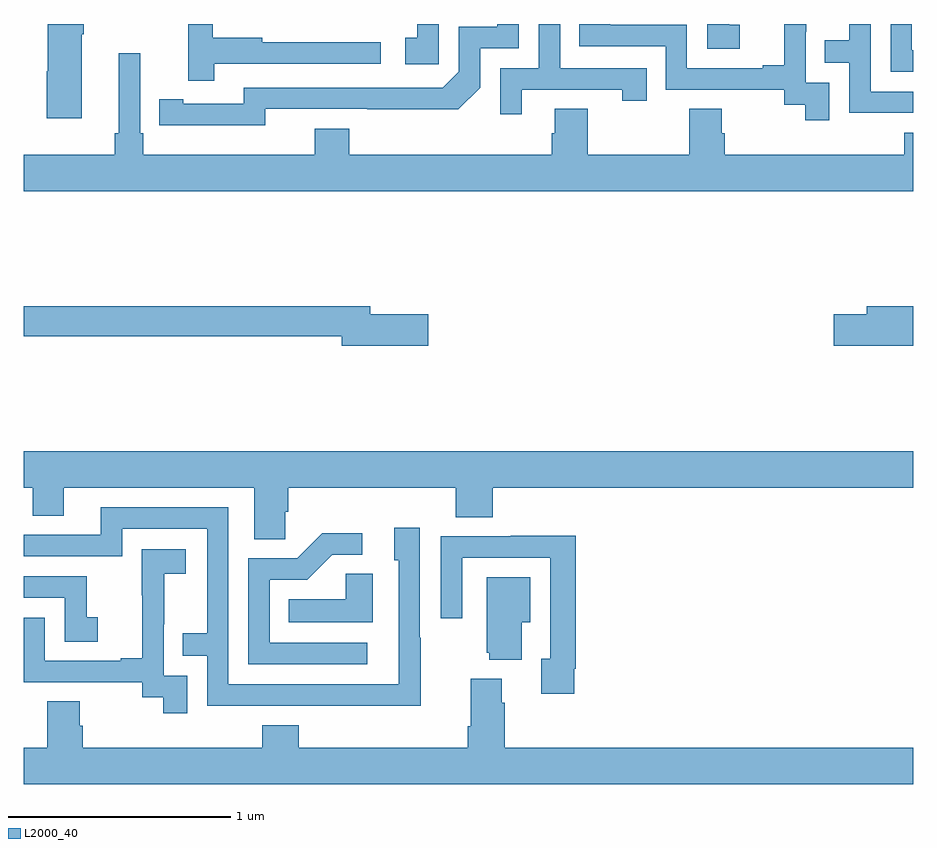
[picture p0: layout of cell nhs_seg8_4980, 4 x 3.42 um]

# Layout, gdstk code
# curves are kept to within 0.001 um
import gdstk
lib = gdstk.Library(unit=1e-6, precision=1e-09)
def P(c, l, *ps):  # polygons
    for p in ps: c.add(gdstk.Polygon(p, *l))
L2000_40 = (2000, 40)

nhs_seg8_4980 = lib.new_cell('nhs_seg8_4980')
P(nhs_seg8_4980, L2000_40, [(415,1135.596),(414.807,1135.596),(414.807,1135.9),(414.711,1135.9),(414.711,1135.826),(414.601,1135.826),(414.601,1135.725),(414.711,1135.725),(414.711,1135.5),(415,1135.5)],
  [(412.866,1135.9),(412.769,1135.9),(412.769,1135.839),(412.716,1135.839),(412.716,1135.719),(412.866,1135.719)],
  [(412.086,1135.518),(412.954,1135.517),(413.052,1135.614),(413.052,1135.791),(413.226,1135.791),(413.226,1135.9),(413.129,1135.9),(413.129,1135.887),(412.956,1135.887),(412.956,1135.686),(412.884,1135.614),(411.99,1135.614),(411.99,1135.542),(411.718,1135.542),(411.718,1135.562),(411.61,1135.562),(411.61,1135.446),(412.086,1135.445)],
  [(411.857,1135.722),(412.606,1135.722),(412.606,1135.818),(412.073,1135.818),(412.073,1135.838),(411.85,1135.838),(411.85,1135.9),(411.74,1135.9),(411.74,1135.644),(411.857,1135.644)],
  [(411.262,1135.855),(411.27,1135.855),(411.27,1135.9),(411.109,1135.9),(411.109,1135.688),(411.104,1135.688),(411.104,1135.476),(411.262,1135.476)],
  [(414.621,1135.635),(414.516,1135.635),(414.516,1135.865),(414.518,1135.865),(414.518,1135.9),(414.419,1135.9),(414.419,1135.714),(414.323,1135.714),(414.323,1135.701),(413.982,1135.701),(413.982,1135.896),(413.637,1135.896),(413.637,1135.9),(413.497,1135.9),(413.497,1135.8),(413.886,1135.8),(413.886,1135.605),(414.42,1135.605),(414.42,1135.537),(414.513,1135.537),(414.513,1135.467),(414.621,1135.467)],
  [(414.22,1135.897),(414.171,1135.897),(414.171,1135.9),(414.072,1135.9),(414.072,1135.788),(414.22,1135.788)],
  [(413.239,1135.605),(413.69,1135.605),(413.69,1135.554),(413.801,1135.554),(413.801,1135.701),(413.412,1135.701),(413.412,1135.9),(413.316,1135.9),(413.316,1135.701),(413.142,1135.701),(413.142,1135.494),(413.239,1135.494)],
  [(415,1135.782),(414.993,1135.782),(414.993,1135.9),(414.897,1135.9),(414.897,1135.686),(415,1135.686)],
  [(415,1135.411),(414.959,1135.411),(414.959,1135.312),(414.152,1135.312),(414.152,1135.41),(414.139,1135.41),(414.139,1135.52),(413.992,1135.52),(413.992,1135.312),(413.535,1135.312),(413.535,1135.52),(413.387,1135.52),(413.387,1135.41),(413.375,1135.41),(413.375,1135.312),(412.463,1135.312),(412.463,1135.429),(412.31,1135.429),(412.31,1135.312),(411.539,1135.312),(411.539,1135.408),(411.525,1135.408),(411.525,1135.768),(411.428,1135.768),(411.428,1135.408),(411.409,1135.408),(411.409,1135.312),(411,1135.312),(411,1135.148),(415,1135.148)],
  [(412.819,1134.596),(412.558,1134.596),(412.558,1134.632),(411,1134.632),(411,1134.496),(412.43,1134.496),(412.43,1134.454),(412.819,1134.454)],
  [(415,1134.632),(414.791,1134.632),(414.791,1134.596),(414.642,1134.596),(414.642,1134.454),(415,1134.454)],
  [(412.176,1133.707),(412.19,1133.707),(412.19,1133.816),(412.943,1133.816),(412.943,1133.683),(413.108,1133.683),(413.108,1133.816),(415,1133.816),(415,1133.98),(411,1133.98),(411,1133.816),(411.042,1133.816),(411.042,1133.689),(411.181,1133.689),(411.181,1133.816),(412.037,1133.816),(412.037,1133.584),(412.176,1133.584)],
  [(412.785,1133.141),(412.782,1133.141),(412.782,1133.635),(412.667,1133.635),(412.667,1133.49),(412.686,1133.49),(412.686,1132.932),(411.921,1132.932),(411.921,1133.727),(411.347,1133.727),(411.347,1133.604),(411,1133.604),(411,1133.508),(411.444,1133.508),(411.444,1133.631),(411.825,1133.631),(411.825,1133.162),(411.715,1133.162),(411.715,1133.061),(411.825,1133.061),(411.825,1132.836),(412.321,1132.836),(412.321,1132.835),(412.785,1132.835)],
  [(412.546,1133.118),(412.107,1133.118),(412.107,1133.403),(412.276,1133.403),(412.387,1133.514),(412.522,1133.514),(412.522,1133.612),(412.343,1133.612),(412.23,1133.499),(412.011,1133.499),(412.011,1133.022),(412.546,1133.022)],
  [(413.476,1133.002),(413.483,1133.002),(413.483,1133.6),(413.191,1133.6),(413.191,1133.598),(412.875,1133.598),(412.875,1133.229),(412.971,1133.229),(412.971,1133.502),(413.367,1133.502),(413.367,1133.046),(413.327,1133.046),(413.327,1132.89),(413.476,1132.89)],
  [(411.735,1132.971),(411.63,1132.971),(411.63,1133.201),(411.632,1133.201),(411.632,1133.429),(411.73,1133.429),(411.73,1133.539),(411.532,1133.539),(411.532,1133.333),(411.533,1133.333),(411.533,1133.05),(411.437,1133.05),(411.437,1133.037),(411.096,1133.037),(411.096,1133.232),(411,1133.232),(411,1132.941),(411.534,1132.941),(411.534,1132.873),(411.627,1132.873),(411.627,1132.803),(411.735,1132.803)],
  [(412.57,1133.429),(412.449,1133.429),(412.449,1133.314),(412.192,1133.314),(412.192,1133.21),(412.57,1133.21)],
  [(411.334,1133.233),(411.285,1133.233),(411.285,1133.418),(411,1133.418),(411,1133.322),(411.186,1133.322),(411.186,1133.124),(411.334,1133.124)],
  [(413.239,1133.21),(413.278,1133.21),(413.278,1133.413),(413.081,1133.413),(413.081,1133.073),(413.093,1133.073),(413.093,1133.042),(413.239,1133.042)],
  [(415,1132.648),(413.162,1132.648),(413.162,1132.85),(413.149,1132.85),(413.149,1132.957),(413.009,1132.957),(413.009,1132.744),(412.997,1132.744),(412.997,1132.648),(412.238,1132.648),(412.238,1132.747),(412.073,1132.747),(412.073,1132.648),(411.266,1132.648),(411.266,1132.746),(411.253,1132.746),(411.253,1132.856),(411.106,1132.856),(411.106,1132.648),(411,1132.648),(411,1132.484),(415,1132.484)])

lib.write_gds('nhs_seg8_4980.gds')
